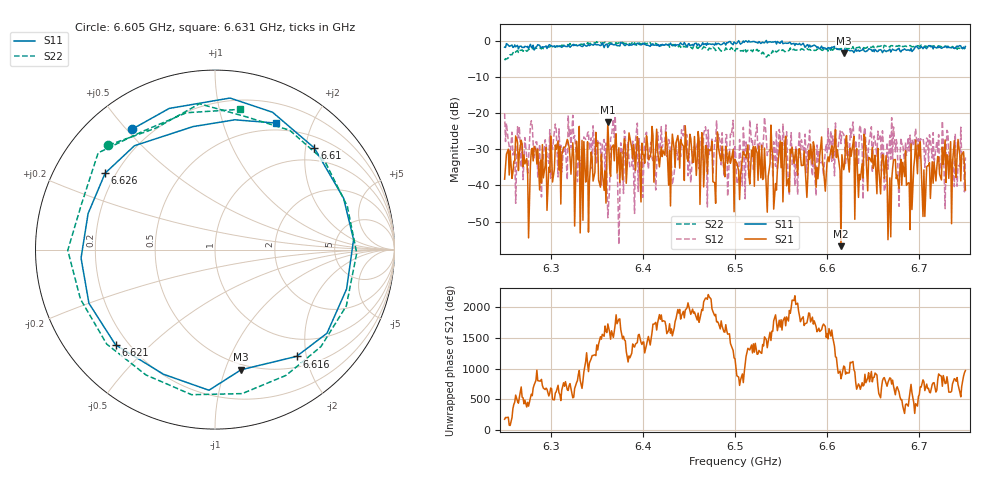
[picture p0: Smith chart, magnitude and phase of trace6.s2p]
# Hz S RI R 50
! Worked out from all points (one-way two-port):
!   401 points, 6.25 GHz to 6.75 GHz, reference 50 ohm
!   highest |S21| = -22.45 dB at 6.362 GHz (marker M1); lowest = -56.8 dB at 6.615 GHz (marker M2)
!   lowest |S11| = -3.3 dB at 6.618 GHz (marker M3), VSWR 5.35, Z = 22.5 - j56.8 ohm
!   |S11| at or under -10 dB: nowhere
!   |S22| runs from -5.3 to -0.1 dB; largest |S21 - S12| = 0.13
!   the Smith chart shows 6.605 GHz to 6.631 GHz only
!   S11 on the Smith chart (normalised r, x): 6.605 GHz: 0.13, +0.52; 6.61 GHz: 0.72, +2.18; 6.616 GHz: 0.67, -1.83; 6.621 GHz: 0.15, -0.39; 6.626 GHz: 0.16, +0.31; 6.631 GHz: 0.42, +1.52
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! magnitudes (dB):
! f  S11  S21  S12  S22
! 6.25 GHz  -1.6  -38.2  -20.0  -5.3
! 6.289 GHz  -1.6  -32.9  -37.2  -1.9
! 6.334 GHz  -1.5  -27.5  -29.3  -0.8
! 6.362 GHz  -1.7  -22.5  -49.0  -0.8
! 6.368 GHz  -0.9  -28.8  -21.6  -0.6
! 6.376 GHz  -0.3  -30.9  -28.2  -0.2
! 6.382 GHz  -0.8  -39.4  -34.6  -0.6
! 6.418 GHz  -1.4  -34.8  -31.2  -0.7
! 6.5 GHz  -0.4  -32.8  -29.2  -2.7
! 6.584 GHz  -1.3  -34.0  -37.3  -2.2
! 6.605 GHz  -1.8  -29.0  -33.3  -1.6
! 6.61 GHz  -2.0  -32.2  -31.5  -2.1
! 6.615 GHz  -2.2  -56.8  -28.4  -2.0
! 6.616 GHz  -2.5  -31.5  -25.1  -1.9
! 6.618 GHz  -3.3  -35.6  -25.8  -1.9
! 6.621 GHz  -2.3  -26.1  -30.7  -2.0
! 6.626 GHz  -2.5  -31.9  -26.6  -2.1
! 6.631 GHz  -2.1  -33.1  -27.5  -2.0
! 6.661 GHz  -2.7  -31.8  -29.0  -1.8
! 6.668 GHz  -2.2  -37.9  -26.1  -1.6
! 6.699 GHz  -2.1  -28.8  -27.0  -1.3
! 6.75 GHz  -1.4  -41.3  -32.2  -1.8
